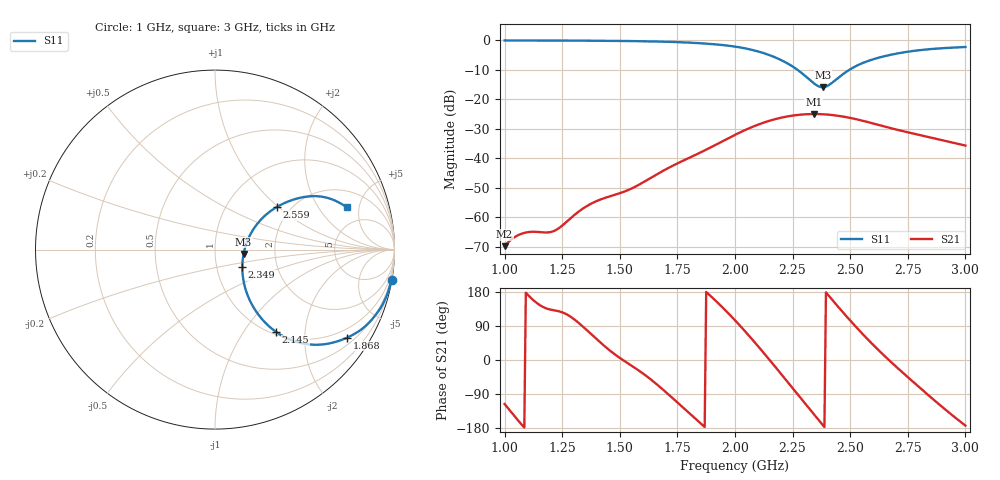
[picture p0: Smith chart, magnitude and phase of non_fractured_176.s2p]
! TOUCHSTONE file generated by CST MICROWAVE STUDIO
! Date and time: Sat Mar  8 13:55:13 2025
! Project name: non_fractured.cst
! Parameters = {B=2.5; D=160; F=5; Feed=2.85625; L=100; M=20; R=0.384908; S=2.5; Theta=270; length=57.125; wave=114.25}
! Header version: 2024
! Port assignment regex: !\s*Touchstone port\s*([0-9]+)\s*=\s*(CST MWS port|CST DES external port|CST DES block port)\s*(.+)\s* \(\"(.*)\"\)(\s*mode\s*([0-9]+))?.*
! Touchstone port assignment:
! Touchstone port 1 = CST MWS port 1 ("")
! Touchstone port 2 = CST MWS port 2 ("")
# GHz S DB R 50
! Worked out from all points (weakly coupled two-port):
!   305 points, 1 GHz to 3 GHz, reference 50 ohm
!   highest |S21| = -24.96 dB at 2.342 GHz (marker M1); lowest = -69.7 dB at 1 GHz (marker M2)
!   lowest |S11| = -15.9 dB at 2.382 GHz (marker M3), VSWR 1.38, Z = 68.8 - j3.5 ohm
!   |S11| at or under -10 dB: 2.272 GHz to 2.496 GHz (223.9 MHz wide, 9.39 % of centre)
!   S12 and S22 are empty: the file has one direction only
!   S11 on the Smith chart (normalised r, x): 1 GHz: 0, -12; 1.868 GHz: 0.70, -3.17; 2.145 GHz: 1.04, -1.42; 2.349 GHz: 1.33, -0.26; 2.559 GHz: 1.70, +0.99; 3 GHz: 3.23, +3.77
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1  -0.02 -9.8  -69.75 -116.1  -200.00 0.0  -200.00 0.0
1.03947  -0.02 -10.3  -66.88 -145.6  -200.00 0.0  -200.00 0.0
1.07895  -0.03 -10.8  -65.38 -173.8  -200.00 0.0  -200.00 0.0
1.21711  -0.05 -13.0  -64.50 131.0  -200.00 0.0  -200.00 0.0
1.33553  -0.09 -15.2  -57.23 90.5  -200.00 0.0  -200.00 0.0
1.40132  -0.12 -16.6  -54.39 54.0  -200.00 0.0  -200.00 0.0
1.55263  -0.23 -20.5  -50.15 -15.7  -200.00 0.0  -200.00 0.0
1.67105  -0.40 -24.3  -44.92 -69.6  -200.00 0.0  -200.00 0.0
1.86842  -1.06 -33.6  -37.29 -176.7  -200.00 0.0  -200.00 0.0
2  -2.10 -42.4  -32.01 104.9  -200.00 0.0  -200.00 0.0
2.14474  -4.86 -53.4  -27.35 4.1  -200.00 0.0  -200.00 0.0
2.24342  -8.52 -56.2  -25.56 -69.2  -200.00 0.0  -200.00 0.0
2.33553  -14.11 -39.1  -24.96 -138.0  -200.00 0.0  -200.00 0.0
2.34211  -14.53 -35.8  -24.96 -142.9  -200.00 0.0  -200.00 0.0
2.34868  -14.91 -32.1  -24.96 -147.8  -200.00 0.0  -200.00 0.0
2.38158  -15.87 -8.9  -25.04 -172.0  -200.00 0.0  -200.00 0.0
2.40789  -15.11 9.6  -25.19 168.9  -200.00 0.0  -200.00 0.0
2.47368  -11.14 31.5  -25.88 122.3  -200.00 0.0  -200.00 0.0
2.55921  -7.51 34.5  -27.33 65.2  -200.00 0.0  -200.00 0.0
2.67105  -4.96 31.0  -29.64 -1.9  -200.00 0.0  -200.00 0.0
2.82895  -3.08 23.9  -32.54 -87.3  -200.00 0.0  -200.00 0.0
3  -2.24 17.7  -35.64 -173.1  -200.00 0.0  -200.00 0.0
